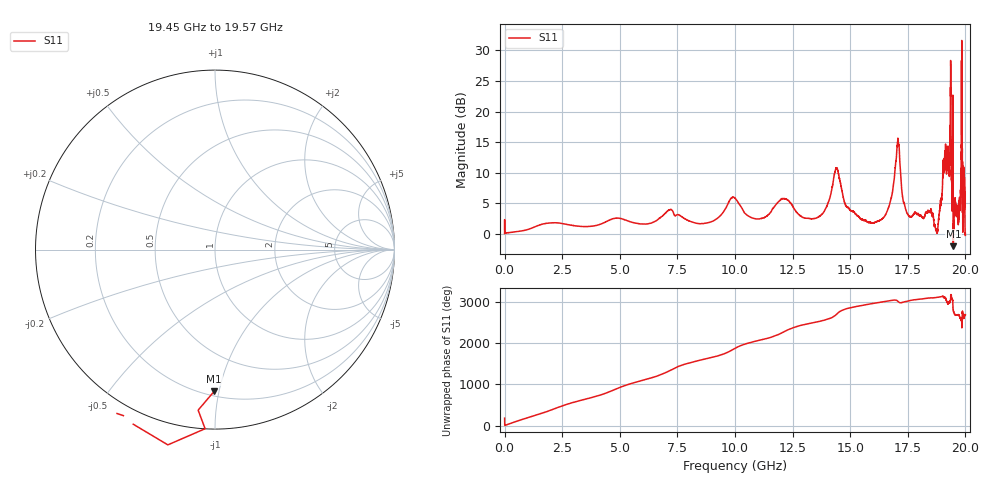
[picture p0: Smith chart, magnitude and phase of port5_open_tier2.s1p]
! Created with skrf 1.8.0 (http://scikit-rf.org).
# GHz S RI R 50.0
!freq ReS11 ImS11
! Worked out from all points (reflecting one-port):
!   10001 points, 1 MHz to 20 GHz, reference 50 ohm
!   lowest |S11| = -2.1 dB at 19.48 GHz (marker M1), VSWR 8.50, Z = 11.5 - j48.4 ohm
!   phase of S11 starts at 180 deg and turns +2510 deg over the sweep
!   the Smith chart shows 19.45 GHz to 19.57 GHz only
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0.001  -1 0.00116
1.516924  0.168 -1.166
2.500875  -0.5574 1.074
4.074796  1.174 0.1258
5.00075  -1.214 -0.5582
5.884706  1.201 0.0144
6.948653  -1.416 -0.3378
7.500625  1.382 -0.3771
8.694565  -1.204 0.1665
9.468527  0.4328 -1.417
10.0005  0.5646 1.87
10.96045  -0.3347 -1.276
11.74041  1.633 0.4386
12.0764  -0.343 1.903
12.50038  -1.498 -0.768
13.78431  1.34 0.5461
14.23829  -0.7992 2.386
14.41428  -3.438 -0.0966
14.58227  -0.6233 -2.5
15.00025  1.409 -0.6543
16.99615  -3.826 1.55
17.13614  -0.9776 4.395
17.50013  -1.089 0.938
19.04205  -1.699 -2.896
19.25204  1.075 4.567
19.47603  -0.00471 -0.7895
19.75801  -0.5945 1.752
20  -0.9524 0.1721
